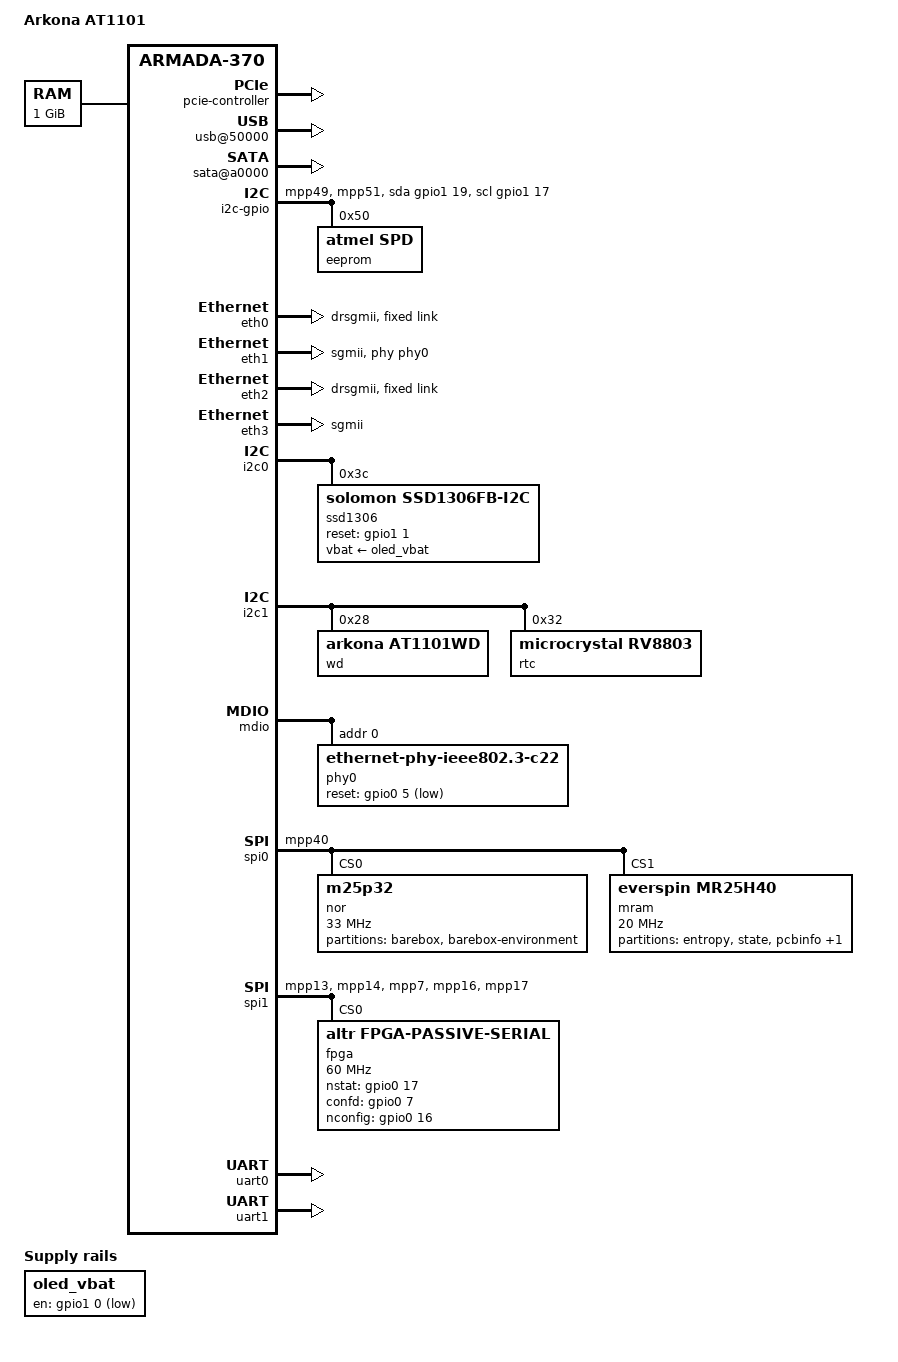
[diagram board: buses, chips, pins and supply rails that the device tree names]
/*
 * Barebox specific DT overlay for Arkona AT1101
 */

/dts-v1/;

#include <dt-bindings/gpio/gpio.h>
#include "arm/armada-xp-mv78460.dtsi"

/ {
	model = "Arkona AT1101";
	compatible = "arkona,at1101", "marvell,armadaxp-mv78460", "marvell,armadaxp", "marvell,armada-370-xp";

	aliases {
		state = &state;
	};

	chosen {
		stdout-path = "/soc/internal-regs/serial@12000";

		environment {
			compatible = "barebox,environment";
			device-path = &bareboxenv;
		};
	};

	memory {
		device_type = "memory";
		reg = <0 0x00000000 0 0x40000000>; /* 1GB */
	};

	soc {
		ranges = <MBUS_ID(0xf0, 0x01) 0 0 0xd0000000 0x100000
			MBUS_ID(0x01, 0x1d) 0 0 0xfff00000 0x100000
			MBUS_ID(0x09, 0x09) 0 0 0xf1100000 0x10000
			MBUS_ID(0x09, 0x05) 0 0 0xf1110000 0x10000>;

		pcie-controller {
			status = "okay";

			/* Connected to Option 1 FPGA 1x */
			pcie@1,0 {
				/* Port 0, Lane 0 */
				status = "okay";
				reset-gpios = <&gpio0 0 1>;
			};

			/* Connected to Option 2 FPGA 1x */
			pcie@2,0 {
				/* Port 0, Lane 1 */
				status = "okay";
				reset-gpios = <&gpio0 3 1>;
			};

			/*
			 * Connected to Base FPGA 4x
			 * If this is enabled in barebox the device doesn't
			 * appear in Linux.
			 */
			pcie@9,0 {
				/* Port 2, Lane 0 */
				status = "okay";
				reset-gpios = <&gpio0 6 1>;
				reset-delay-us = <100000>;
			};
		};

		internal-regs {
			usb@50000 {
				status = "okay";
			};

			sata@a0000 {
				status = "okay";
				nr-ports = <2>;
			};
		};
	};

	i2c-gpio {
		compatible = "i2c-gpio";
		pinctrl-0 = <&i2c_gpio_pins>;
		pinctrl-names = "default";

		#size-cells = <0>;
		#address-cells = <1>;

		gpios = <&gpio1 19 GPIO_ACTIVE_HIGH /* SDA */
			 &gpio1 17 GPIO_ACTIVE_HIGH /* SCL */>;

		eeprom@50 {
			compatible = "atmel,spd";
			reg = <0x50>;

			read-only;
		};
	};

	state: state {
		magic = <0x52410a4b>;
		compatible = "barebox,state";
		backend-type = "raw";
		backend-storage-type = "direct";
		backend-stridesize = <0x80>;
		backend = <&state_part>;

		#address-cells = <1>;
		#size-cells = <1>;

		bootstate {
			#address-cells = <1>;
			#size-cells = <1>;

			system0 {
				#address-cells = <1>;
				#size-cells = <1>;

				remaining_attempts {
					reg = <0x0 0x4>;
					type = "uint32";
				};

				priority {
					reg = <0x4 0x4>;
					type = "uint32";
					default = <20>;
				};
			};

			system1 {
				#address-cells = <1>;
				#size-cells = <1>;

				remaining_attempts {
					reg = <0x10 0x4>;
					type = "uint32";
				};

				priority {
					reg = <0x14 0x4>;
					type = "uint32";
					default = <20>;
				};
			};

			last_chosen {
				reg = <0x20 0x04>;
				type = "uint32";
			};
		};

		fpga_prefix {
			reg = <0x30 0x30>;
			type = "string";
		};
	};

	oled_vbat: fixed-regulator {
		compatible = "regulator-fixed";
		regulator-name = "vbat-supply";
		gpio = <&gpio1 0 0>;
		enable-active-low;
	};
};

&eth0 { /* Base FPGA */
	status = "okay";

	phy-mode = "drsgmii";

	fixed-link {
		speed = <1000>; /* <2500> */
		full-duplex;
	};
};

&eth1 {
	status = "okay";

	phy = <&phy0>;
	phy-mode = "sgmii";
};

&eth2 { /* Base FPGA */
	status = "okay";

	phy-mode = "drsgmii";

	/* managed = "in-band-status"; */
	fixed-link {
		speed = <1000>; /* <2500> */
		full-duplex;
	};
};

&eth3 { /* ETH Midplane */
	status = "okay";

	phy-mode = "sgmii";
};

&i2c0 {
	status = "okay";

	ssd1306: oled@3c {
		compatible = "solomon,ssd1306fb-i2c";
		pinctrl-0 = <&frontpanel_display_pins>;
		reg = <0x3c>;
		reset-gpios = <&gpio1 1 0>;
		vbat-supply = <&oled_vbat>;
		solomon,height = <16>;
		solomon,width = <96>;
		solomon,page-offset = <0>;
		solomon,com-invdir;
		solomon,com-seq;
	};
};

&i2c1 {
	status = "okay";

	wd@28 {
		compatible = "arkona,at1101wd";
		reg = <0x28>;
	};

	rtc@32 {
		compatible = "microcrystal,rv8803";
		reg = <0x32>;
	};
};

&mdio {
	status = "okay";

	phy0: phy@0 {
		pinctrl-names = "default";
		pinctrl-0 = <&phy0_pins>;

		compatible = "ethernet-phy-ieee802.3-c22";
		reg = <0>;
		reset-gpio = <&gpio0 5 GPIO_ACTIVE_LOW>;
		marvell,reg-init = <1 26 7 6>;
	};
};

&pinctrl {
	pinctrl-0 = <&hog_pins>;
	pinctrl-names = "default";

	fpga_pins: fpga-pins {
		marvell,pins = "mpp7", "mpp16", "mpp17";
		marvell,function = "gpio";
	};

	hog_pins: hog-pins-0 {
		marvell,pins = "mpp55", "mpp56", "mpp57", "mpp58", "mpp59", "mpp60", "mpp61";
		marvell,function = "gpio";
	};

	i2c_gpio_pins: i2c-gpio-pins {
		marvell,pins = "mpp49", "mpp51";
		marvell,function = "gpio";
	};

	phy0_pins: phy0-pins {
		marvell,pins = "mpp5";
		marvell,function = "gpio";
	};

	frontpanel_display_pins: frontpanel-display-pins {
		marvell,pins = "mpp33";
		marvell,function = "gpio";
	};

	spi0_cs1_pins: spi0-cs1-pins {
		marvell,pins = "mpp40";
		marvell,function = "spi0";
	};

	spi1_wo_pins: spi1-wo-pins {
		marvell,pins = "mpp13", "mpp14";
		marvell,function = "spi1";
	};
};

&spi0 {
	status = "okay";
	pinctrl-0 = <&spi0_pins>, <&spi0_cs1_pins>;
	pinctrl-names = "default";

	nor@0 {
		compatible = "m25p32", "m25p80";
		spi-max-frequency = <33000000>;
		reg = <0>;

		#address-cells = <1>;
		#size-cells = <1>;

		partition@0 {
			label = "barebox";
			reg = <0x0 0x80000>;
		};

		bareboxenv: partition@1 {
			label = "barebox-environment";
			reg = <0x80000 0x20000>;
		};
	};

	mram@1 {
		compatible = "everspin,mr25h40";
		spi-max-frequency = <20000000>;
		reg = <1>;

		#address-cells = <1>;
		#size-cells = <1>;

		partition@0 {
			label = "entropy";
			reg = <0x00000 0x00200>;
		};

		state_part: partition@200 {
			label = "state";
			reg = <0x00200 0x00200>;
		};

		partition@400 {
			label = "pcbinfo";
			reg = <0x00400 0x00080>;
		};

		partition@480 {
			label = "general";
			reg = <0x00480 0x7fb80>;
		};
	};
};

&spi1 {
	status = "okay";
	pinctrl-0 = <&spi1_wo_pins>, <&fpga_pins>;
	pinctrl-names = "default";

	fpga: arria@0 {
		compatible = "altr,fpga-passive-serial";
		reg = <0>;

		nstat-gpios = <&gpio0 17 0>;
		confd-gpios = <&gpio0 7 0>;
		nconfig-gpios = <&gpio0 16 0>;
		spi-max-frequency = <60000000>;
	};
};

&uart0 {
	status = "okay";
};

&uart1 {
	status = "okay";
};
